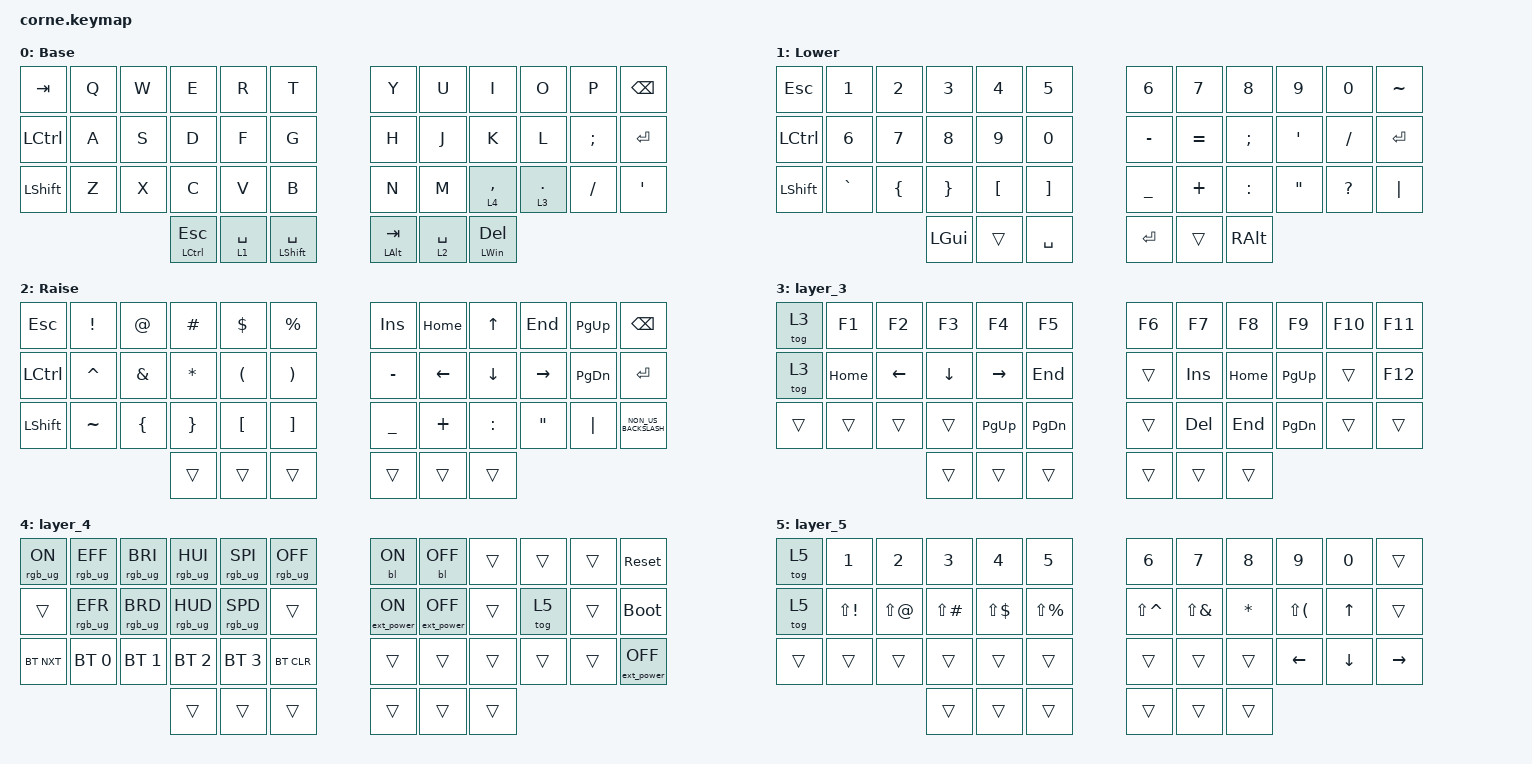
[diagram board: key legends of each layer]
/*
 * Copyright (c) 2020 The ZMK Contributors
 *
 * SPDX-License-Identifier: MIT
 */

#include <behaviors.dtsi>
#include <dt-bindings/zmk/backlight.h>
#include <dt-bindings/zmk/bt.h>
#include <dt-bindings/zmk/ext_power.h>
#include <dt-bindings/zmk/keys.h>
#include <dt-bindings/zmk/rgb.h>

/ {
    combos {
        compatible = "zmk,combos";
        combo_studio_unlock {
            bindings = <&studio_unlock>;
            key-positions = <9 10>;
        };
    };

    keymap {
        compatible = "zmk,keymap";

        default_layer {
            // -----------------------------------------------------------------------------------------
            // |  TAB |  Q  |  W  |  E  |  R  |  T  |   |  Y  |  U   |  I  |  O  |  P  | BKSP |
            // | CTRL |  A  |  S  |  D  |  F  |  G  |   |  H  |  J   |  K  |  L  |  ;  |  '   |
            // | SHFT |  Z  |  X  |  C  |  V  |  B  |   |  N  |  M   |  ,  |  .  |  /  | ESC  |
            //                    | GUI | LWR | SPC |   | ENT | RSE  | ALT |

            display-name = "Base";
            bindings = <
&kp TAB    &kp Q  &kp W  &kp E             &kp R        &kp T              &kp Y         &kp U        &kp I                &kp O         &kp P     &kp BSPC
&kp LCTRL  &kp A  &kp S  &kp D             &kp F        &kp G              &kp H         &kp J        &kp K                &kp L         &kp SEMI  &kp RET
&kp LSHFT  &kp Z  &kp X  &kp C             &kp V        &kp B              &kp N         &kp M        &lt 4 COMMA          &lt 3 PERIOD  &kp FSLH  &kp SQT
                         &mt LCTRL ESCAPE  &lt 1 SPACE  &mt LSHFT SPACE    &mt LALT TAB  &lt 2 SPACE  &mt LEFT_WIN DELETE
            >;
        };

        lower_layer {
            // -----------------------------------------------------------------------------------------
            // |  TAB |  1  |  2  |  3  |  4  |  5  |   |  6  |  7  |  8  |  9  |  0  | BKSP |
            // | BTCLR| BT1 | BT2 | BT3 | BT4 | BT5 |   | LFT | DWN |  UP | RGT |     |      |
            // | SHFT |     |     |     |     |     |   |     |     |     |     |     |      |
            //                    | GUI |     | SPC |   | ENT |     | ALT |

            display-name = "Lower";
            bindings = <
&kp ESCAPE  &kp N1        &kp N2          &kp N3           &kp N4            &kp N5               &kp N6          &kp N7     &kp N8         &kp N9             &kp N0        &kp TILDE
&kp LCTRL   &kp NUMBER_6  &kp N7          &kp N8           &kp N9            &kp N0               &kp MINUS       &kp EQUAL  &kp SEMICOLON  &kp SQT            &kp SLASH     &kp RET
&kp LSHFT   &kp GRAVE     &kp LEFT_BRACE  &kp RIGHT_BRACE  &kp LEFT_BRACKET  &kp RIGHT_BRACKET    &kp UNDERSCORE  &kp PLUS   &kp COLON      &kp DOUBLE_QUOTES  &kp QUESTION  &kp PIPE
                                          &kp LGUI         &trans            &kp SPACE            &kp RET         &trans     &kp RALT
            >;
        };

        raise_layer {
            // -----------------------------------------------------------------------------------------
            // |  TAB |  !  |  @  |  #  |  $  |  %  |   |  ^  |  &  |  *  |  (  |  )  | BKSP |
            // | CTRL |     |     |     |     |     |   |  -  |  =  |  [  |  ]  |  \  |  `   |
            // | SHFT |     |     |     |     |     |   |  _  |  +  |  {  |  }  | "|" |  ~   |
            //                    | GUI |     | SPC |   | ENT |     | ALT |

            display-name = "Raise";
            bindings = <
&kp ESCAPE  &kp EXCL   &kp AT          &kp HASH         &kp DLLR              &kp PRCNT                &kp INSERT  &kp HOME        &kp UP_ARROW    &kp END            &kp PAGE_UP    &kp BACKSPACE
&kp LCTRL   &kp CARET  &kp AMPERSAND   &kp ASTERISK     &kp LEFT_PARENTHESIS  &kp RIGHT_PARENTHESIS    &kp MINUS   &kp LEFT_ARROW  &kp DOWN_ARROW  &kp RIGHT          &kp PAGE_DOWN  &kp RET
&kp LSHFT   &kp TILDE  &kp LEFT_BRACE  &kp RIGHT_BRACE  &kp LEFT_BRACKET      &kp RIGHT_BRACKET        &kp UNDER   &kp PLUS        &kp COLON       &kp DOUBLE_QUOTES  &kp PIPE       &kp NON_US_BACKSLASH
                                       &trans           &trans                &trans                   &trans      &trans          &trans
            >;
        };

        layer_3 {
            bindings = <
&tog 3  &kp F1    &kp F2          &kp F3    &kp F4       &kp F5           &kp F6  &kp F7      &kp F8    &kp F9         &kp F10  &kp F11
&tog 3  &kp HOME  &kp LEFT_ARROW  &kp DOWN  &kp RIGHT    &kp END          &trans  &kp INSERT  &kp HOME  &kp PG_UP      &trans   &kp F12
&trans  &trans    &trans          &trans    &kp PAGE_UP  &kp PAGE_DOWN    &trans  &kp DEL     &kp END   &kp PAGE_DOWN  &trans   &trans
                                  &trans    &trans       &trans           &trans  &trans      &trans
            >;
        };

        layer_4 {
            bindings = <
&rgb_ug RGB_ON  &rgb_ug RGB_EFF  &rgb_ug RGB_BRI  &rgb_ug RGB_HUI  &rgb_ug RGB_SPI  &rgb_ug RGB_OFF    &bl BL_ON         &bl BL_OFF         &trans  &trans  &trans  &sys_reset
&trans          &rgb_ug RGB_EFR  &rgb_ug RGB_BRD  &rgb_ug RGB_HUD  &rgb_ug RGB_SPD  &trans             &ext_power EP_ON  &ext_power EP_OFF  &trans  &tog 5  &trans  &bootloader
&bt BT_NXT      &bt BT_SEL 0     &bt BT_SEL 1     &bt BT_SEL 2     &bt BT_SEL 3     &bt BT_CLR         &trans            &trans             &trans  &trans  &trans  &ext_power EP_OFF
                                                  &trans           &trans           &trans             &trans            &trans             &trans
            >;
        };

        layer_5 {
            bindings = <
&tog 5  &kp NUMBER_1  &kp NUMBER_2  &kp N3         &kp N4        &kp N5           &kp N6         &kp N7        &kp N8    &kp N9        &kp N0        &trans
&tog 5  &kp LS(EXCL)  &kp LS(AT)    &kp LS(POUND)  &kp LS(DLLR)  &kp LS(PRCNT)    &kp LS(CARET)  &kp LS(AMPS)  &kp STAR  &kp LS(LPAR)  &kp UP_ARROW  &trans
&trans  &trans        &trans        &trans         &trans        &trans           &trans         &trans        &trans    &kp LEFT      &kp DOWN      &kp RIGHT
                                    &trans         &trans        &trans           &trans         &trans        &trans
            >;
        };
    };
};
